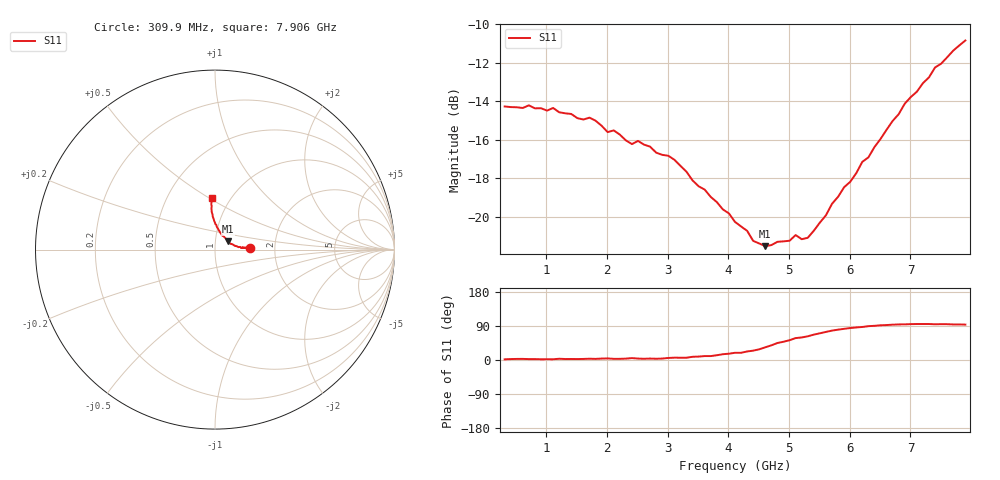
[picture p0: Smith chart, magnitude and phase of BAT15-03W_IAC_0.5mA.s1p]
! Infineon Technologies  Discrete & RF Semiconductors
! BAT15-03W-E6327
! IAC = 0.5 mA
! One-Port S-Parameters
# Hz  S  MA  R  50
!f  S11
!Hz  Mag  Ang
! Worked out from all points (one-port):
!   77 points, 309.9 MHz to 7.906 GHz, reference 50 ohm
!   lowest |S11| = -21.5 dB at 4.608 GHz (marker M1), VSWR 1.18, Z = 57.2 + j5.33 ohm
!   |S11| at or under -10 dB: start of sweep to end of sweep
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3.0985e8  0.1934 1.8
7.0965e8  0.1947 2.4
1.0095e9  0.1886 2.1
1.10945e9  0.1917 2.0
1.30935e9  0.1856 2.6
1.6092e9  0.1788 2.8
1.70915e9  0.1808 3.4
2.009e9  0.1658 4.2
2.10895e9  0.1676 3.0
2.2089e9  0.1634 3.1
2.4088e9  0.1543 5.0
2.50875e9  0.1573 3.8
2.8086e9  0.1467 3.3
3.0085e9  0.144 5.4
3.2084e9  0.1355 6.0
4.10795e9  0.09689 19.0
4.30785e9  0.09186 22.5
4.4078e9  0.08648 24.7
4.6077e9  0.08379 33.5
5.0075e9  0.08655 52.2
5.10745e9  0.08956 57.8
5.30735e9  0.08809 62.5
6.007e9  0.1231 84.4
6.2069e9  0.1388 87.2
6.30685e9  0.1426 89.3
7.0065e9  0.2046 94.7
7.4063e9  0.2443 94.2
7.90605e9  0.2871 93.4
